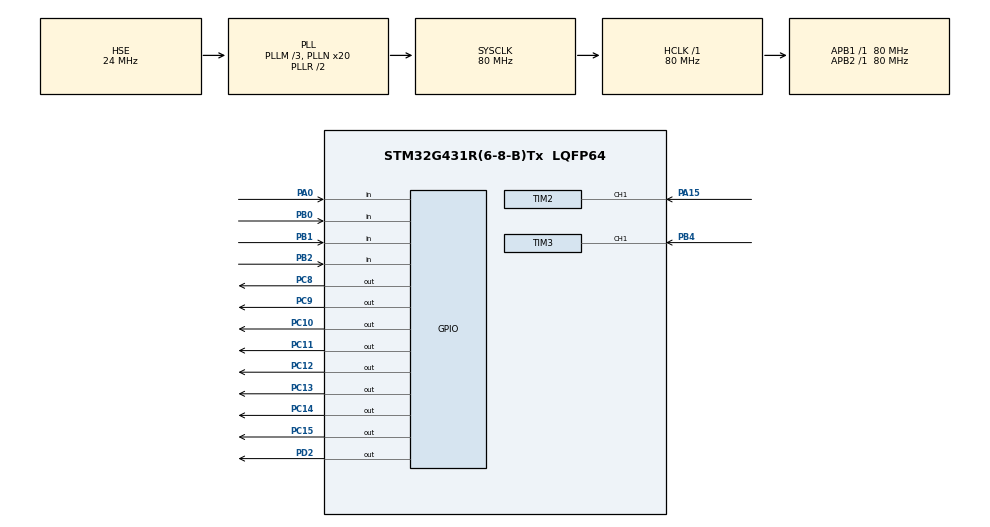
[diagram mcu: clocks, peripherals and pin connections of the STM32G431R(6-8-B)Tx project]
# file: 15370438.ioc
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Mcu.Family=STM32G4
Mcu.Name=STM32G431R(6-8-B)Tx
Mcu.Package=LQFP64
NVIC.PriorityGroup=NVIC_PRIORITYGROUP_4
NVIC.TIM2_IRQn=true\:0\:0\:false\:false\:true\:true\:true
NVIC.TIM3_IRQn=true\:0\:0\:false\:false\:true\:true\:true
PA0.Signal=GPIO_Input
PA15.Signal=S_TIM2_CH1
PB0.Signal=GPIO_Input
PB1.Signal=GPIO_Input
PB2.Signal=GPIO_Input
PB4.Signal=S_TIM3_CH1
PC10.PinState=GPIO_PIN_SET
PC10.Signal=GPIO_Output
PC11.PinState=GPIO_PIN_SET
PC11.Signal=GPIO_Output
PC12.PinState=GPIO_PIN_SET
PC12.Signal=GPIO_Output
PC13.PinState=GPIO_PIN_SET
PC13.Signal=GPIO_Output
PC14-OSC32_IN.PinState=GPIO_PIN_SET
PC14-OSC32_IN.Signal=GPIO_Output
PC15-OSC32_OUT.PinState=GPIO_PIN_SET
PC15-OSC32_OUT.Signal=GPIO_Output
PC8.PinState=GPIO_PIN_SET
PC8.Signal=GPIO_Output
PC9.PinState=GPIO_PIN_SET
PC9.Signal=GPIO_Output
PD2.Signal=GPIO_Output
PF0-OSC_IN.Mode=HSE-External-Oscillator
PF0-OSC_IN.Signal=RCC_OSC_IN
PF1-OSC_OUT.Mode=HSE-External-Oscillator
PF1-OSC_OUT.Signal=RCC_OSC_OUT
ProjectManager.HeapSize=0x200
ProjectManager.StackSize=0x400
ProjectManager.TargetToolchain=MDK-ARM V5.27
RCC.ADC12Freq_Value=80000000
RCC.AHBFreq_Value=80000000
RCC.APB1Freq_Value=80000000
RCC.APB1TimFreq_Value=80000000
RCC.APB2Freq_Value=80000000
RCC.APB2TimFreq_Value=80000000
RCC.CortexFreq_Value=80000000
RCC.EXTERNAL_CLOCK_VALUE=12288000
RCC.HCLKFreq_Value=80000000
RCC.HSE_VALUE=24000000
RCC.HSI48_VALUE=48000000
RCC.HSI_VALUE=16000000
RCC.LSE_VALUE=32768
RCC.PLLM=RCC_PLLM_DIV3
RCC.PLLN=20
RCC.PLLSourceVirtual=RCC_PLLSOURCE_HSE
RCC.SYSCLKFreq_VALUE=80000000
RCC.SYSCLKSource=RCC_SYSCLKSOURCE_PLLCLK
RCC.USBFreq_Value=80000000
RCC.VCOOutputFreq_Value=160000000
SH.S_TIM2_CH1.0=TIM2_CH1,Input_Capture1_from_TI1
SH.S_TIM3_CH1.0=TIM3_CH1,Input_Capture1_from_TI1
TIM2.AutoReloadPreload=TIM_AUTORELOAD_PRELOAD_ENABLE
TIM2.Channel-Input_Capture1_from_TI1=TIM_CHANNEL_1
TIM2.PeriodNoDither=65535
TIM2.Prescaler=79
TIM3.AutoReloadPreload=TIM_AUTORELOAD_PRELOAD_ENABLE
TIM3.Channel-Input_Capture1_from_TI1=TIM_CHANNEL_1
TIM3.Prescaler=79
VP_SYS_VS_DBSignals.Mode=DisableDeadBatterySignals
VP_TIM2_VS_ClockSourceINT.Mode=Internal
VP_TIM3_VS_ClockSourceINT.Mode=Internal
board=custom

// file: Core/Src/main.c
/* USER CODE BEGIN Header */
/**
  ******************************************************************************
  * @file           : main.c
  * @brief          : Main program body
  ******************************************************************************
  * @attention
  *
  * <h2><center>&copy; Copyright (c) 2024 STMicroelectronics.
  * All rights reserved.</center></h2>
  *
  * This software component is licensed by ST under BSD 3-Clause license,
  * the "License"; You may not use this file except in compliance with the
  * License. You may obtain a copy of the License at:
  *                        opensource.org/licenses/BSD-3-Clause
  *
  ******************************************************************************
  */
/* USER CODE END Header */
#include "main.h"

/* USER CODE BEGIN Includes */
#include "led.h"
#include "lcd.h"
#include <stdio.h>
/* USER CODE END Includes */

/* USER CODE BEGIN PTD */
typedef enum
{
	Key_Check,
	Key_Press,
	Key_Release,
	Key_Over
}Key_State;
/* USER CODE END PTD */

/* USER CODE BEGIN PD */
#define K1 HAL_GPIO_ReadPin(GPIOB, GPIO_PIN_0)
#define K2 HAL_GPIO_ReadPin(GPIOB, GPIO_PIN_1)
#define K3 HAL_GPIO_ReadPin(GPIOB, GPIO_PIN_2)
#define K4 HAL_GPIO_ReadPin(GPIOA, GPIO_PIN_0)

#define Press GPIO_PIN_RESET
#define Release GPIO_PIN_SET
/* USER CODE END PD */

TIM_HandleTypeDef htim2;
TIM_HandleTypeDef htim3;

/* USER CODE BEGIN PV */
int32_t Freq_Value_2, Freq_Value_2_Now, Freq_2_Past, Freq_2_Now, Freq_Value_3, Freq_Value_3_Now, Freq_3_Past,Freq_3_Now, PX, Freq_Max_2, Freq_Min_2, Freq_Max_3, Freq_Min_3;
uint8_t Str[20];
Key_State KeyState = Key_Check;
uint8_t KeyNum, NDA, NDB, NHA, NHB;
uint16_t Key_Press_Time = 20, PH = 5000, PD = 1000;
uint8_t ShowSelect, Show_PF, Flag_PDHX, Flag_PH_2, Flag_PH_3;
/* USER CODE END PV */

void SystemClock_Config(void);
static void MX_GPIO_Init(void);
static void MX_TIM2_Init(void);
static void MX_TIM3_Init(void);
/* USER CODE BEGIN PFP */
void Key_Scan(void);
void LCD_Show(void);

/* USER CODE END PFP */

/* USER CODE BEGIN 0 */
void HAL_TIM_IC_CaptureCallback(TIM_HandleTypeDef *htim)
{
	if(htim ->Instance == TIM2)
	{
		Freq_Value_2 = __HAL_TIM_GetCounter(&htim2);
		__HAL_TIM_SetCounter(&htim2, 0);
		Freq_2_Past = Freq_2_Now;
		Freq_2_Now = (1000000 / Freq_Value_2) + PX;
		Freq_Value_2_Now = (int32_t)(1000000 / Freq_2_Now);
		HAL_TIM_IC_Start_IT(&htim2, TIM_CHANNEL_1);
	}
	else if(htim ->Instance == TIM3)
	{
		Freq_Value_3 = __HAL_TIM_GetCounter(&htim3);
		__HAL_TIM_SetCounter(&htim3, 0);
		Freq_3_Past = Freq_3_Now;
		Freq_3_Now = (1000000 / Freq_Value_3) + PX;
		Freq_Value_3_Now = (int32_t)(1000000 / Freq_3_Now);
		HAL_TIM_IC_Start_IT(&htim3, TIM_CHANNEL_1);
	}
}
/* USER CODE END 0 */

int main(void)
{

  /* MCU Configuration--------------------------------------------------------*/

  /* Reset of all peripherals, Initializes the Flash interface and the Systick. */
  HAL_Init();

  /* Configure the system clock */
  SystemClock_Config();

  /* Initialize all configured peripherals */
  MX_GPIO_Init();
  MX_TIM2_Init();
  MX_TIM3_Init();
  /* USER CODE BEGIN 2 */
  LED_Init();

  LCD_Init();
  LCD_Clear(Black);
  LCD_SetBackColor(Black);
  LCD_SetTextColor(White);

  HAL_TIM_IC_Start_IT(&htim2, TIM_CHANNEL_1);
  HAL_TIM_IC_Start_IT(&htim3, TIM_CHANNEL_1);

  /* USER CODE END 2 */

  /* Infinite loop */
  /* USER CODE BEGIN WHILE */
  while (1)
  {
	  if(KeyState == Key_Over)
	  {
		  KeyState = Key_Check;
		  if(KeyNum == 1)
		  {
			  if(ShowSelect == 1)
			  {
				  if(Flag_PDHX == 2)
				  {
					  PX += 100;
					  if(PX > 1000)PX = -1000;
				  }
				  else if(Flag_PDHX == 1)
				  {
					  PH += 100;
					  if(PH > 10000)PH = 1000;
				  }
				  else if(Flag_PDHX == 0)
				  {
					  PD += 100;
					  if(PD > 1000)PD = 100;
				  }
			  }
		  }
		  else if(KeyNum == 2)
		  {
			  if(ShowSelect == 1)
			  {
				  if(Flag_PDHX == 2)
				 {
					 PX -= 100;
					 if(PX < -1000)PX = 1000;
				 }
				 else if(Flag_PDHX == 1)
				 {
					 PH -= 100;
					 if(PH < 1000)PH = 10000;
				 }
				 else if(Flag_PDHX == 0)
				 {
					 PD -= 100;
					 if(PD < 100)PD = 1000;
				 }
			  }
		  }
		  else if(KeyNum == 3 && Key_Press_Time <= 1000)
		  {
			  if(ShowSelect == 1)
			  {
				  Flag_PDHX ++;
				  Flag_PDHX %= 3;
			  }
			  else if(ShowSelect == 0)
			  {
				  Show_PF = !Show_PF;
			  }
		  }
		  else if(KeyNum == 3 && Key_Press_Time > 1000)
		  {
			  if(ShowSelect == 2)
			  {
				  NDA = 0;NDB = 0;NHA = 0;NHB = 0;
			  }
		  }
		  else if(KeyNum == 4)
		  {
			  ShowSelect ++;
			  ShowSelect %= 3;
			  if(ShowSelect == 0)Show_PF = 0;
			  else if(ShowSelect == 1)Flag_PDHX = 0;
		  }
		  Key_Press_Time = 0;
	  }
	  /*****************************************************/
	  if(Freq_2_Now >= PH)
	  {
		  if(Flag_PH_2 == 1)
		  {
			  NHA++;
			  Flag_PH_2 = 0;
		  }
	  }
	  else
	  {
		  Flag_PH_2 = 1;
	  }

	  if(Freq_3_Now >= PH)
	  {
		  if(Flag_PH_3 == 1)
		  {
			  NHB ++;
			  Flag_PH_3 = 0;
		  }
	  }
	  else
	  {
		  Flag_PH_3 = 1;
	  }
	  /*****************************************************/
	  if(ShowSelect == 0)LED_ON(1);
	  else LED_OFF(1);
	  if(Freq_2_Now > PH)LED_ON(2);
	  else LED_OFF(2);
	  if(Freq_3_Now > PH)LED_ON(3);
	  else LED_OFF(3);

	  LCD_Show();
    /* USER CODE END WHILE */

  }
}

void SystemClock_Config(void)
{
  RCC_OscInitTypeDef RCC_OscInitStruct = {0};
  RCC_ClkInitTypeDef RCC_ClkInitStruct = {0};

  /** Configure the main internal regulator output voltage
  */
  HAL_PWREx_ControlVoltageScaling(PWR_REGULATOR_VOLTAGE_SCALE1);
  /** Initializes the RCC Oscillators according to the specified parameters
  * in the RCC_OscInitTypeDef structure.
  */
  RCC_OscInitStruct.OscillatorType = RCC_OSCILLATORTYPE_HSE;
  RCC_OscInitStruct.HSEState = RCC_HSE_ON;
  RCC_OscInitStruct.PLL.PLLState = RCC_PLL_ON;
  RCC_OscInitStruct.PLL.PLLSource = RCC_PLLSOURCE_HSE;
  RCC_OscInitStruct.PLL.PLLM = RCC_PLLM_DIV3;
  RCC_OscInitStruct.PLL.PLLN = 20;
  RCC_OscInitStruct.PLL.PLLP = RCC_PLLP_DIV2;
  RCC_OscInitStruct.PLL.PLLQ = RCC_PLLQ_DIV2;
  RCC_OscInitStruct.PLL.PLLR = RCC_PLLR_DIV2;
  if (HAL_RCC_OscConfig(&RCC_OscInitStruct) != HAL_OK)
  {
    Error_Handler();
  }
  /** Initializes the CPU, AHB and APB buses clocks
  */
  RCC_ClkInitStruct.ClockType = RCC_CLOCKTYPE_HCLK|RCC_CLOCKTYPE_SYSCLK
                              |RCC_CLOCKTYPE_PCLK1|RCC_CLOCKTYPE_PCLK2;
  RCC_ClkInitStruct.SYSCLKSource = RCC_SYSCLKSOURCE_PLLCLK;
  RCC_ClkInitStruct.AHBCLKDivider = RCC_SYSCLK_DIV1;
  RCC_ClkInitStruct.APB1CLKDivider = RCC_HCLK_DIV1;
  RCC_ClkInitStruct.APB2CLKDivider = RCC_HCLK_DIV1;

  if (HAL_RCC_ClockConfig(&RCC_ClkInitStruct, FLASH_LATENCY_2) != HAL_OK)
  {
    Error_Handler();
  }
}

static void MX_TIM2_Init(void)
{

  TIM_ClockConfigTypeDef sClockSourceConfig = {0};
  TIM_MasterConfigTypeDef sMasterConfig = {0};
  TIM_IC_InitTypeDef sConfigIC = {0};

  htim2.Instance = TIM2;
  htim2.Init.Prescaler = 79;
  htim2.Init.CounterMode = TIM_COUNTERMODE_UP;
  htim2.Init.Period = 65535;
  htim2.Init.ClockDivision = TIM_CLOCKDIVISION_DIV1;
  htim2.Init.AutoReloadPreload = TIM_AUTORELOAD_PRELOAD_ENABLE;
  if (HAL_TIM_Base_Init(&htim2) != HAL_OK)
  {
    Error_Handler();
  }
  sClockSourceConfig.ClockSource = TIM_CLOCKSOURCE_INTERNAL;
  if (HAL_TIM_ConfigClockSource(&htim2, &sClockSourceConfig) != HAL_OK)
  {
    Error_Handler();
  }
  if (HAL_TIM_IC_Init(&htim2) != HAL_OK)
  {
    Error_Handler();
  }
  sMasterConfig.MasterOutputTrigger = TIM_TRGO_RESET;
  sMasterConfig.MasterSlaveMode = TIM_MASTERSLAVEMODE_DISABLE;
  if (HAL_TIMEx_MasterConfigSynchronization(&htim2, &sMasterConfig) != HAL_OK)
  {
    Error_Handler();
  }
  sConfigIC.ICPolarity = TIM_INPUTCHANNELPOLARITY_RISING;
  sConfigIC.ICSelection = TIM_ICSELECTION_DIRECTTI;
  sConfigIC.ICPrescaler = TIM_ICPSC_DIV1;
  sConfigIC.ICFilter = 0;
  if (HAL_TIM_IC_ConfigChannel(&htim2, &sConfigIC, TIM_CHANNEL_1) != HAL_OK)
  {
    Error_Handler();
  }

}

static void MX_TIM3_Init(void)
{

  TIM_ClockConfigTypeDef sClockSourceConfig = {0};
  TIM_MasterConfigTypeDef sMasterConfig = {0};
  TIM_IC_InitTypeDef sConfigIC = {0};

  htim3.Instance = TIM3;
  htim3.Init.Prescaler = 79;
  htim3.Init.CounterMode = TIM_COUNTERMODE_UP;
  htim3.Init.Period = 65535;
  htim3.Init.ClockDivision = TIM_CLOCKDIVISION_DIV1;
  htim3.Init.AutoReloadPreload = TIM_AUTORELOAD_PRELOAD_ENABLE;
  if (HAL_TIM_Base_Init(&htim3) != HAL_OK)
  {
    Error_Handler();
  }
  sClockSourceConfig.ClockSource = TIM_CLOCKSOURCE_INTERNAL;
  if (HAL_TIM_ConfigClockSource(&htim3, &sClockSourceConfig) != HAL_OK)
  {
    Error_Handler();
  }
  if (HAL_TIM_IC_Init(&htim3) != HAL_OK)
  {
    Error_Handler();
  }
  sMasterConfig.MasterOutputTrigger = TIM_TRGO_RESET;
  sMasterConfig.MasterSlaveMode = TIM_MASTERSLAVEMODE_DISABLE;
  if (HAL_TIMEx_MasterConfigSynchronization(&htim3, &sMasterConfig) != HAL_OK)
  {
    Error_Handler();
  }
  sConfigIC.ICPolarity = TIM_INPUTCHANNELPOLARITY_RISING;
  sConfigIC.ICSelection = TIM_ICSELECTION_DIRECTTI;
  sConfigIC.ICPrescaler = TIM_ICPSC_DIV1;
  sConfigIC.ICFilter = 0;
  if (HAL_TIM_IC_ConfigChannel(&htim3, &sConfigIC, TIM_CHANNEL_1) != HAL_OK)
  {
    Error_Handler();
  }

}

static void MX_GPIO_Init(void)
{
  GPIO_InitTypeDef GPIO_InitStruct = {0};

  /* GPIO Ports Clock Enable */
  __HAL_RCC_GPIOC_CLK_ENABLE();
  __HAL_RCC_GPIOF_CLK_ENABLE();
  __HAL_RCC_GPIOA_CLK_ENABLE();
  __HAL_RCC_GPIOB_CLK_ENABLE();
  __HAL_RCC_GPIOD_CLK_ENABLE();

  /*Configure GPIO pin Output Level */
  HAL_GPIO_WritePin(GPIOC, GPIO_PIN_13|GPIO_PIN_14|GPIO_PIN_15|GPIO_PIN_8
                          |GPIO_PIN_9|GPIO_PIN_10|GPIO_PIN_11|GPIO_PIN_12, GPIO_PIN_SET);

  /*Configure GPIO pin Output Level */
  HAL_GPIO_WritePin(GPIOD, GPIO_PIN_2, GPIO_PIN_RESET);

  /*Configure GPIO pins : PC13 PC14 PC15 PC8
                           PC9 PC10 PC11 PC12 */
  GPIO_InitStruct.Pin = GPIO_PIN_13|GPIO_PIN_14|GPIO_PIN_15|GPIO_PIN_8
                          |GPIO_PIN_9|GPIO_PIN_10|GPIO_PIN_11|GPIO_PIN_12;
  GPIO_InitStruct.Mode = GPIO_MODE_OUTPUT_PP;
  GPIO_InitStruct.Pull = GPIO_NOPULL;
  GPIO_InitStruct.Speed = GPIO_SPEED_FREQ_LOW;
  HAL_GPIO_Init(GPIOC, &GPIO_InitStruct);

  /*Configure GPIO pin : PA0 */
  GPIO_InitStruct.Pin = GPIO_PIN_0;
  GPIO_InitStruct.Mode = GPIO_MODE_INPUT;
  GPIO_InitStruct.Pull = GPIO_NOPULL;
  HAL_GPIO_Init(GPIOA, &GPIO_InitStruct);

  /*Configure GPIO pins : PB0 PB1 PB2 */
  GPIO_InitStruct.Pin = GPIO_PIN_0|GPIO_PIN_1|GPIO_PIN_2;
  GPIO_InitStruct.Mode = GPIO_MODE_INPUT;
  GPIO_InitStruct.Pull = GPIO_NOPULL;
  HAL_GPIO_Init(GPIOB, &GPIO_InitStruct);

  /*Configure GPIO pin : PD2 */
  GPIO_InitStruct.Pin = GPIO_PIN_2;
  GPIO_InitStruct.Mode = GPIO_MODE_OUTPUT_PP;
  GPIO_InitStruct.Pull = GPIO_NOPULL;
  GPIO_InitStruct.Speed = GPIO_SPEED_FREQ_LOW;
  HAL_GPIO_Init(GPIOD, &GPIO_InitStruct);

}

/* USER CODE BEGIN 4 */
void LCD_Show(void)
{
	if(ShowSelect == 0)//频率/周期显示
	  {
		  if(Show_PF == 0)
		  {
			  LCD_DisplayStringLine(Line1, (uint8_t *)"        DATA      ");
			  if(Freq_2_Now <= 1000)
			  {
				  if(Freq_2_Now < 0)
				  {
					  LCD_DisplayStringLine(Line3, (uint8_t *)"     A=NULL     ");
				  }
				  else
				  {
					  sprintf((char *)Str, "     A=%dHz   ", Freq_2_Now);
					  LCD_DisplayStringLine(Line3, Str);
				  }
			  }
			  else
			  {
				  sprintf((char *)Str, "     A=%.2fKHz   ", Freq_2_Now * 1.0f / 1000);
				  LCD_DisplayStringLine(Line3, Str);
			  }

			  if(Freq_3_Now <= 1000)
			  {
				  if(Freq_3_Now < 0)
				  {
					  LCD_DisplayStringLine(Line4, (uint8_t *)"     B=NULL   ");
				  }
				  else
				  {
					  sprintf((char *)Str, "     B=%dHz   ", Freq_3_Now);
					  LCD_DisplayStringLine(Line4, Str);
				  }
			  }
			  else
			  {
				  sprintf((char *)Str, "     B=%.2fKHz   ", Freq_3_Now * 1.0f / 1000);
				  LCD_DisplayStringLine(Line4, Str);
			  }
			  LCD_DisplayStringLine(Line5, (uint8_t *)"                  ");
			  LCD_DisplayStringLine(Line6, (uint8_t *)"                  ");
		  }
		  else//周期
		  {
			  LCD_DisplayStringLine(Line1, (uint8_t *)"        DATA      ");
			  if(Freq_Value_2_Now <= 1000)
			  {
				  if(Freq_2_Now < 0)
				  {
					  LCD_DisplayStringLine(Line3, (uint8_t *)"     A=NULL   ");
				  }
				  else
				  {
					  sprintf((char *)Str, "     A:%duS     ", Freq_Value_2_Now);
					  LCD_DisplayStringLine(Line3, Str);
				  }
			  }
			  else
			  {
				  sprintf((char *)Str, "     A=%.2fmS   ", Freq_Value_2_Now * 1.0f / 1000);
				  LCD_DisplayStringLine(Line3, Str);
			  }

			  if(Freq_Value_3_Now <= 1000)
			  {
				  if(Freq_3_Now < 0)
				  {
					  LCD_DisplayStringLine(Line4, (uint8_t *)"     B=NULL   ");
				  }
				  else
				  {
					  sprintf((char *)Str, "     B=%duS     ", Freq_Value_3_Now);
					  LCD_DisplayStringLine(Line4, Str);
				  }
			  }
			  else
			  {
				  sprintf((char *)Str, "     B=%.2fmS     ", Freq_Value_3_Now * 1.0f / 1000);
				  LCD_DisplayStringLine(Line4, Str);
			  }
			  LCD_DisplayStringLine(Line5, (uint8_t *)"                  ");
			  LCD_DisplayStringLine(Line6, (uint8_t *)"                  ");
		  }
	  }

	  else if(ShowSelect == 1)//参数显示
	  {
		  LCD_DisplayStringLine(Line1, (uint8_t *)"        PARA      ");
		  sprintf((char *)Str, "     PD=%dHz      ", PD);
		  LCD_DisplayStringLine(Line3, Str);
		  sprintf((char *)Str, "     PH=%dHz      ", PH);
		  LCD_DisplayStringLine(Line4, Str);
		  sprintf((char *)Str, "     PX=%dHz      ", PX);
		  LCD_DisplayStringLine(Line5, Str);
		  LCD_DisplayStringLine(Line6, (uint8_t *)"                  ");
	  }
	  else if(ShowSelect == 2)//统计显示
	  {
		  LCD_DisplayStringLine(Line1, (uint8_t *)"        RECD      ");
		  sprintf((char *)Str, "     NDA=%d         ", NDA);
		  LCD_DisplayStringLine(Line3, Str);
		  sprintf((char *)Str, "     NDB=%d         ", NDB);
		  LCD_DisplayStringLine(Line4, Str);
		  sprintf((char *)Str, "     NHA=%d         ", NHA);
		  LCD_DisplayStringLine(Line5, Str);
		  sprintf((char *)Str, "     NHB=%d         ", NHB);
		  LCD_DisplayStringLine(Line6, Str);
	  }
}

void Key_Scan(void)
{
	switch (KeyState)
	{
		case Key_Check:
		{
			if(K1 == Press || K2 == Press || K3 == Press || K4 == Press)
			{
				KeyState = Key_Press;
			}
		}
		break;
		case Key_Press:
		{
			if(K1 == Press)KeyNum = 1;
			else if(K2 == Press)KeyNum = 2;
			else if(K3 == Press)KeyNum = 3;
			else if(K4 == Press)KeyNum = 4;
			KeyState = Key_Release;
		}
		break;
		case Key_Release:
		{
			if(K1 == Press || K2 == Press || K3 == Press || K4 == Press)
			{
				Key_Press_Time += 10;
			}
			else
			{
				KeyState = Key_Over;
			}
		}
		break;
		default:
		break;
	}
}
/* USER CODE END 4 */

void Error_Handler(void)
{
  __disable_irq();
  while (1)
  {
  }
}

/************************ (C) COPYRIGHT STMicroelectronics *****END OF FILE****/
